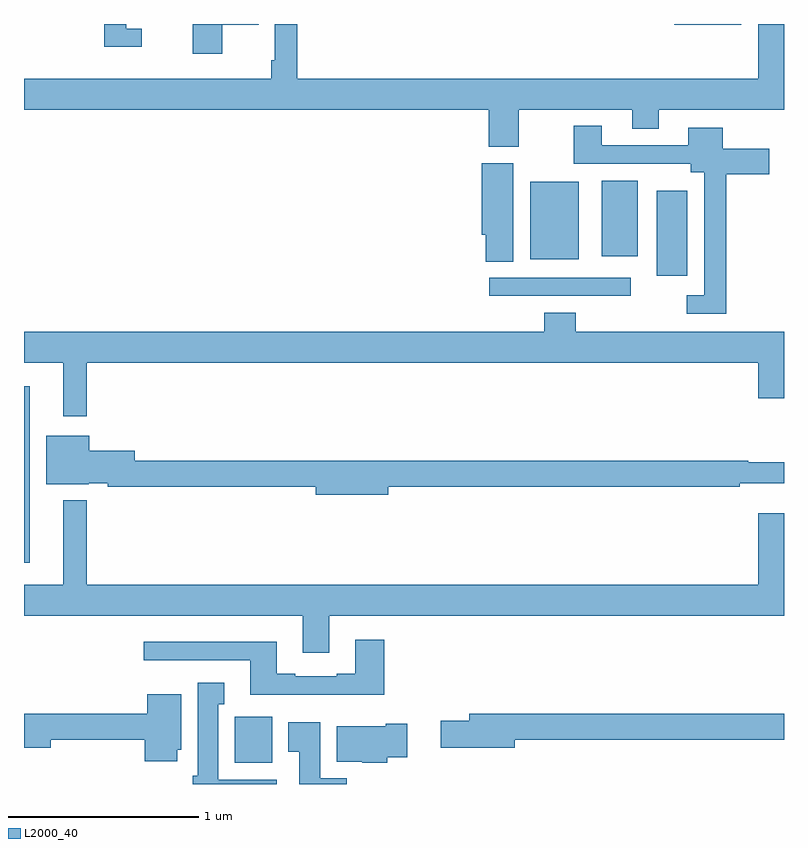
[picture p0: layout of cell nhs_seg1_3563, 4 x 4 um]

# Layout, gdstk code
import gdstk
lib = gdstk.Library(unit=1e-6, precision=1e-09)
def R(c, l, rs):  # rectangles x0, y0, x1, y1
    for r in rs: c.add(gdstk.rectangle(r[:2], r[2:], *l))
def P(c, l, *ps):  # polygons
    for p in ps: c.add(gdstk.Polygon(p, *l))
L2000_40 = (2000, 40)

nhs_seg1_3563 = lib.new_cell('nhs_seg1_3563')
R(nhs_seg1_3563, L2000_40, [(306.11,532.31,306.307,532.552), (305,533.363,305.029,534.292), (307.449,534.768,308.194,534.864), (308.33,534.873,308.491,535.321), (307.664,534.962,307.921,535.369), (308.042,534.977,308.23,535.375), (308.423,536.195,308.776,536.199)])
P(nhs_seg1_3563, L2000_40, [(307.605,535.748),(308.201,535.748),(308.201,535.649),(308.341,535.649),(308.341,535.748),(309,535.748),(309,536.199),(308.864,536.199),(308.864,535.912),(306.437,535.912),(306.437,536.199),(306.321,536.199),(306.321,536.008),(306.301,536.008),(306.301,535.912),(305,535.912),(305,535.748),(307.445,535.748),(307.445,535.554),(307.605,535.554)],
  [(305.62,536.175),(305.538,536.175),(305.538,536.199),(305.422,536.199),(305.422,536.078),(305.62,536.078)],
  [(306.043,536.195),(306.236,536.195),(306.236,536.199),(305.888,536.199),(305.888,536.043),(306.043,536.043)],
  [(308.696,535.409),(308.923,535.409),(308.923,535.543),(308.677,535.543),(308.677,535.654),(308.495,535.654),(308.495,535.56),(308.041,535.56),(308.041,535.663),(307.894,535.663),(307.894,535.464),(308.51,535.464),(308.51,535.418),(308.58,535.418),(308.58,534.771),(308.487,534.771),(308.487,534.675),(308.696,534.675)],
  [(307.576,535.465),(307.409,535.465),(307.409,535.089),(307.43,535.089),(307.43,534.949),(307.576,534.949)],
  [(305.329,534.416),(308.864,534.416),(308.864,534.228),(309,534.228),(309,534.58),(307.904,534.58),(307.904,534.679),(307.739,534.679),(307.739,534.58),(305,534.58),(305,534.416),(305.207,534.416),(305.207,534.135),(305.329,534.135)],
  [(306.916,533.764),(308.768,533.764),(308.768,533.783),(309,533.783),(309,533.893),(308.812,533.893),(308.812,533.9),(305.584,533.9),(305.584,533.953),(305.344,533.953),(305.344,534.031),(305.117,534.031),(305.117,533.777),(305.34,533.777),(305.34,533.783),(305.44,533.783),(305.44,533.764),(306.536,533.764),(306.536,533.722),(306.916,533.722)],
  [(306.607,533.084),(309,533.084),(309,533.623),(308.864,533.623),(308.864,533.248),(305.329,533.248),(305.329,533.692),(305.207,533.692),(305.207,533.248),(305,533.248),(305,533.084),(306.467,533.084),(306.467,532.89),(306.607,532.89)],
  [(306.896,532.957),(306.743,532.957),(306.743,532.78),(306.647,532.78),(306.647,532.767),(306.427,532.767),(306.427,532.78),(306.331,532.78),(306.331,532.948),(305.631,532.948),(305.631,532.851),(306.191,532.851),(306.191,532.67),(306.896,532.67)],
  [(306.331,532.222),(306.022,532.222),(306.022,532.619),(306.055,532.619),(306.055,532.732),(305.915,532.732),(305.915,532.242),(305.888,532.242),(305.888,532.199),(306.331,532.199)],
  [(305.806,532.38),(305.827,532.38),(305.827,532.672),(305.648,532.672),(305.648,532.568),(305,532.568),(305,532.39),(305.14,532.39),(305.14,532.432),(305.636,532.432),(305.636,532.32),(305.806,532.32)],
  [(307.582,532.432),(309,532.432),(309,532.568),(307.343,532.568),(307.343,532.532),(307.194,532.532),(307.194,532.39),(307.582,532.39)],
  [(306.698,532.228),(306.559,532.228),(306.559,532.525),(306.392,532.525),(306.392,532.369),(306.449,532.369),(306.449,532.199),(306.698,532.199)],
  [(306.911,532.339),(307.018,532.339),(307.018,532.517),(306.905,532.517),(306.905,532.504),(306.647,532.504),(306.647,532.316),(306.78,532.316),(306.78,532.31),(306.911,532.31)])

lib.write_gds('nhs_seg1_3563.gds')
